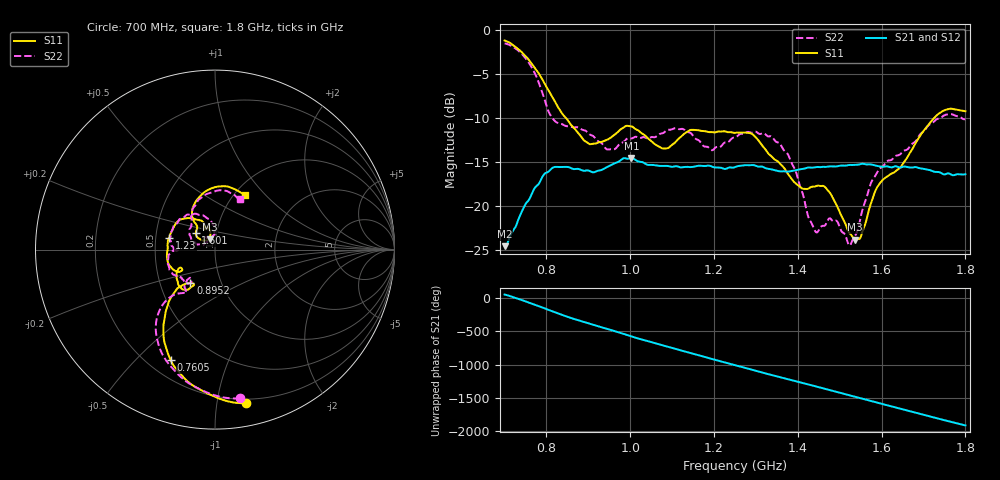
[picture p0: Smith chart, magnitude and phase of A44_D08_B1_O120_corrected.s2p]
! Created with skrf 1.9.0 (http://scikit-rf.org).
# Hz S RI R 50.0
!freq ReS11 ImS11 ReS21 ImS21 ReS12 ImS12 ReS22 ImS22
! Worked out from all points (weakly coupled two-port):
!   1601 points, 700 MHz to 1.8 GHz, reference 50 ohm
!   highest |S21| = -14.52 dB at 1.002 GHz (marker M1); lowest = -24.5 dB at 700.7 MHz (marker M2)
!   lowest |S11| = -23.8 dB at 1.537 GHz (marker M3), VSWR 1.14, Z = 46.8 + j5.38 ohm
!   |S11| at or under -10 dB: 847 MHz to 1.725 GHz (877.9 MHz wide, 68.3 % of centre)
!   |S22| runs from -24.4 to -1.5 dB; largest |S21 - S12| = 0.0036
!   S11 on the Smith chart (normalised r, x): 700 MHz: 0.17, -1.21; 760.5 MHz: 0.29, -0.64; 895.2 MHz: 0.71, -0.28; 1.23 GHz: 0.59, +0.08; 1.601 GHz: 0.79, +0.15; 1.8 GHz: 1.11, +0.77
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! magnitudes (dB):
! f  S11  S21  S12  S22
! 700 MHz  -1.2  -24.5  -24.3  -1.5
! 700.7 MHz  -1.2  -24.5  -24.2  -1.5
! 760.5 MHz  -3.6  -19.1  -18.9  -3.9
! 815.5 MHz  -7.7  -15.6  -15.7  -10.1
! 883.6 MHz  -12.1  -15.9  -15.8  -11.3
! 895.2 MHz  -12.7  -15.9  -16.0  -11.5
! 947.5 MHz  -12.4  -15.5  -15.5  -13.6
! 1.002 GHz  -10.9  -14.5  -14.6  -12.3
! 1.067 GHz  -13.2  -15.4  -15.3  -11.9
! 1.23 GHz  -11.6  -15.7  -15.6  -12.7
! 1.25 GHz  -11.7  -15.5  -15.5  -12.2
! 1.357 GHz  -15.1  -16.0  -16.0  -12.9
! 1.394 GHz  -17.4  -15.9  -15.9  -15.9
! 1.434 GHz  -17.8  -15.6  -15.6  -22.0
! 1.471 GHz  -18.2  -15.5  -15.5  -21.6
! 1.523 GHz  -23.0  -15.3  -15.3  -24.4
! 1.537 GHz  -23.8  -15.3  -15.3  -23.3
! 1.575 GHz  -19.7  -15.2  -15.3  -17.4
! 1.601 GHz  -17.1  -15.5  -15.5  -15.5
! 1.617 GHz  -16.5  -15.5  -15.5  -14.8
! 1.734 GHz  -9.6  -16.1  -16.2  -10.1
! 1.8 GHz  -9.2  -16.4  -16.4  -10.1
